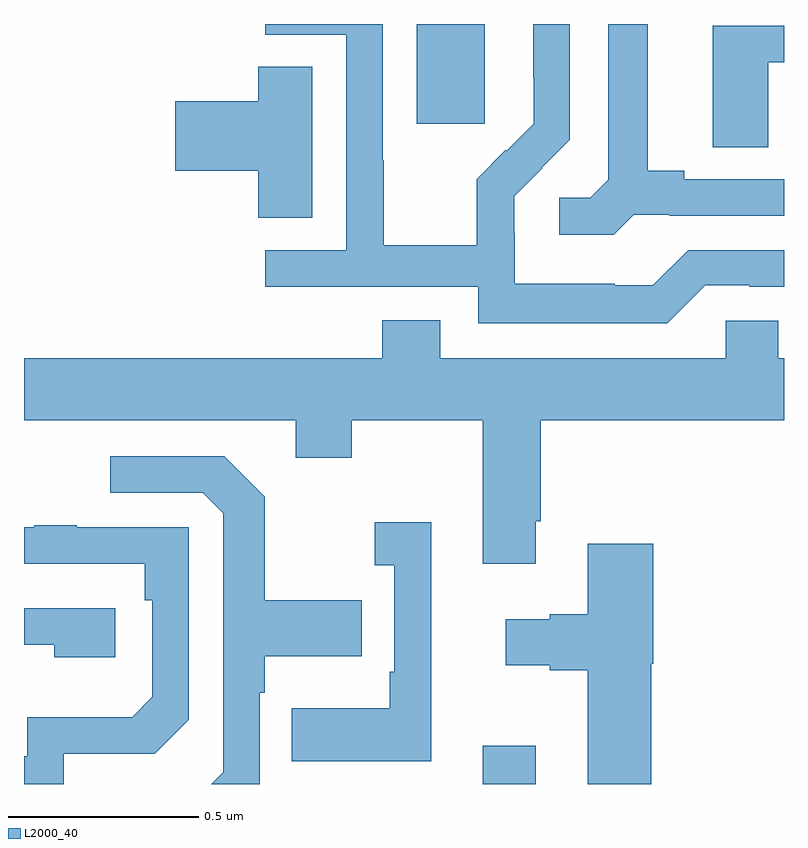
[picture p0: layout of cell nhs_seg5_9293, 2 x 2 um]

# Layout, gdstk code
import gdstk
lib = gdstk.Library(unit=1e-6, precision=1e-09)
def R(c, l, rs):  # rectangles x0, y0, x1, y1
    for r in rs: c.add(gdstk.rectangle(r[:2], r[2:], *l))
def P(c, l, *ps):  # polygons
    for p in ps: c.add(gdstk.Polygon(p, *l))
L2000_40 = (2000, 40)

nhs_seg5_9293 = lib.new_cell('nhs_seg5_9293')
R(nhs_seg5_9293, L2000_40, [(233.207,859.799,233.347,859.9), (233.033,861.537,233.212,861.799)])
P(nhs_seg5_9293, L2000_40, [(233.793,861.111),(233.909,861.111),(233.909,861.108),(234,861.108),(234,861.204),(233.748,861.204),(233.655,861.111),(233.555,861.111),(233.555,861.115),(233.292,861.115),(233.292,861.249),(233.29,861.249),(233.29,861.346),(233.364,861.42),(233.363,861.421),(233.436,861.494),(233.436,861.799),(233.34,861.799),(233.34,861.658),(233.342,861.658),(233.342,861.536),(233.271,861.465),(233.268,861.468),(233.191,861.391),(233.191,861.217),(232.947,861.217),(232.947,861.44),(232.944,861.44),(232.944,861.799),(232.635,861.799),(232.635,861.771),(232.848,861.771),(232.848,861.204),(232.635,861.204),(232.635,861.108),(233.196,861.108),(233.196,861.011),(233.693,861.011)],
  [(233.604,861.297),(233.698,861.297),(233.698,861.294),(234,861.294),(234,861.39),(233.737,861.39),(233.737,861.413),(233.641,861.413),(233.641,861.799),(233.537,861.799),(233.537,861.389),(233.49,861.342),(233.409,861.342),(233.409,861.245),(233.552,861.245)],
  [(233.958,861.699),(234,861.699),(234,861.795),(233.813,861.795),(233.813,861.475),(233.958,861.475)],
  [(232.759,861.686),(232.616,861.686),(232.616,861.596),(232.398,861.596),(232.398,861.413),(232.616,861.413),(232.616,861.289),(232.759,861.289)],
  [(234,860.92),(233.985,860.92),(233.985,861.018),(233.847,861.018),(233.847,860.92),(233.095,860.92),(233.095,861.019),(232.943,861.019),(232.943,860.92),(232,860.92),(232,860.756),(232.715,860.756),(232.715,860.657),(232.863,860.657),(232.863,860.756),(233.207,860.756),(233.207,860.379),(233.347,860.379),(233.347,860.491),(233.36,860.491),(233.36,860.756),(234,860.756)],
  [(232.62,860.039),(232.633,860.039),(232.633,860.135),(232.889,860.135),(232.889,860.283),(232.633,860.283),(232.633,860.555),(232.527,860.661),(232.227,860.661),(232.227,860.565),(232.47,860.565),(232.524,860.511),(232.524,859.83),(232.493,859.799),(232.62,859.799)],
  [(233.072,860.488),(232.923,860.488),(232.923,860.375),(232.974,860.375),(232.974,860.095),(232.962,860.095),(232.962,859.999),(232.705,859.999),(232.705,859.859),(233.072,859.859)],
  [(232.104,859.878),(232.344,859.878),(232.434,859.968),(232.434,860.475),(232.139,860.475),(232.139,860.48),(232.027,860.48),(232.027,860.475),(232,860.475),(232,860.379),(232.318,860.379),(232.318,860.282),(232.338,860.282),(232.338,860.028),(232.285,859.975),(232.008,859.975),(232.008,859.872),(232,859.872),(232,859.799),(232.104,859.799)],
  [(233.651,860.115),(233.656,860.115),(233.656,860.431),(233.483,860.431),(233.483,860.246),(233.384,860.246),(233.384,860.233),(233.268,860.233),(233.268,860.111),(233.384,860.111),(233.384,860.099),(233.483,860.099),(233.483,859.799),(233.651,859.799)],
  [(232.24,860.262),(232,860.262),(232,860.166),(232.079,860.166),(232.079,860.132),(232.24,860.132)])

lib.write_gds('nhs_seg5_9293.gds')
